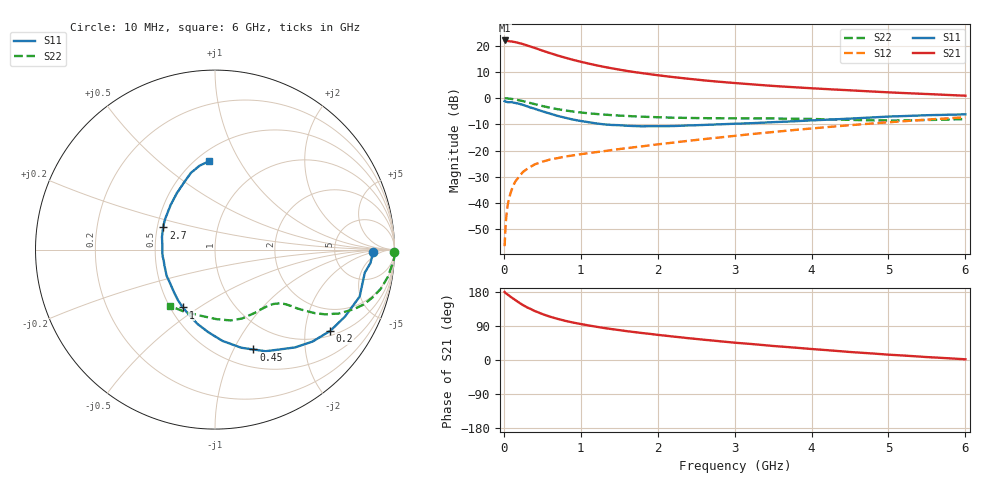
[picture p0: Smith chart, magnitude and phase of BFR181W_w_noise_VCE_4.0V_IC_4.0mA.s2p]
! Infineon Technologies  Discrete & RF Semiconductors
! BFR181W
! VCE =  4.0 V,  IC =  4.0 mA
! Common Emitter S-Parameters:  Jan 2017
# GHz  S  MA  R  50
!  f  S11  S21  S12  S22
! GHz  MAG  ANG  MAG  ANG  MAG  ANG  MAG  ANG
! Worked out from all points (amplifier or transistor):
!   77 points, 10 MHz to 6 GHz, reference 50 ohm
!   highest |S21| = 22.1 dB at 10 MHz (marker M1)
!   |S21| within 3 dB of that: start of sweep to 416.6 MHz
!   unconditionally stable (mu >= 1): 1.474 GHz to 3.491 GHz
!   at 130 MHz: K = 0.13, MSG = 27.2 dB, |S12| = -32.9 dB
!   at 2.2 GHz: K = 1.09, MAG = 10.7 dB, |S12| = -16.9 dB
!   at 6 GHz: K = 0.85, MSG = 4.1 dB, |S12| = -7.2 dB
!   lowest NFmin = 0.92 dB at 450 MHz
!   S11 on the Smith chart (normalised r, x): 10 MHz: 16, -2; 200 MHz: 1.15, -2.72; 450 MHz: 0.69, -1.20; 1 GHz: 0.58, -0.43; 2.7 GHz: 0.54, +0.15; 6 GHz: 0.58, +0.75
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0.01  0.8812 -1.0  12.73 179.4  0.0015 91.0  0.999 -0.9
0.02  0.8691 -5.0  12.67 176.9  0.0031 95.3  1 -1.8
0.06  0.8431 -10.6  12.38 171.1  0.0108 83.3  0.988 -5.5
0.15  0.8146 -27.3  11.82 158.1  0.0259 75.6  0.949 -13.3
0.2  0.7856 -35.2  11.33 151.1  0.0322 72.0  0.9163 -17.0
0.25  0.7469 -43.3  10.84 144.8  0.0394 68.0  0.8824 -20.3
0.3  0.7042 -50.7  10.26 139.1  0.0445 64.6  0.8435 -23.1
0.4  0.6327 -63.5  9.195 129.3  0.0545 60.0  0.7746 -27.4
0.45  0.5961 -69.0  8.657 125.5  0.058 58.3  0.7435 -28.8
0.5  0.5656 -75.1  8.161 121.3  0.0615 56.8  0.7129 -30.4
0.6  0.51 -85.4  7.307 114.3  0.0677 55.0  0.6618 -32.4
0.7  0.4615 -94.7  6.56 108.5  0.0721 53.9  0.6195 -33.7
0.8  0.4246 -103.5  5.958 103.3  0.0773 53.5  0.5861 -34.8
1  0.3688 -119.1  4.991 94.9  0.0856 53.3  0.5354 -36.2
1.1  0.3499 -126.0  4.611 91.3  0.0897 53.9  0.5183 -36.9
1.5  0.3066 -151.6  3.532 78.9  0.1072 55.5  0.4675 -39.8
2.1  0.2938 178.5  2.649 64.2  0.1372 58.3  0.4311 -46.8
2.7  0.3139 156.8  2.135 51.6  0.1723 59.3  0.417 -56.1
3.1  0.3301 145.1  1.909 44.1  0.1987 58.8  0.413 -62.4
4.1  0.3841 122.4  1.527 27.5  0.2734 55.1  0.3997 -79.7
5.1  0.4529 106.0  1.28 12.9  0.357 48.1  0.3769 -104.6
6  0.4941 93.7  1.121 1.9  0.4351 39.9  0.402 -128.7
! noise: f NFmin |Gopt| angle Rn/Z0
0.45  0.92  0.39  16  0.24
0.9  0.97  0.36  31  0.24
1.9  1.4  0.2  79  0.2
2.4  1.56  0.17  94  0.22
